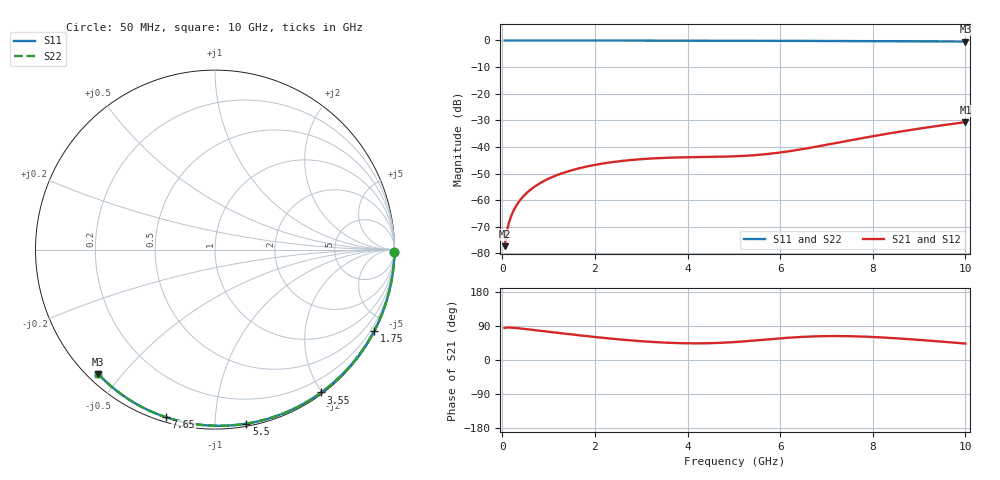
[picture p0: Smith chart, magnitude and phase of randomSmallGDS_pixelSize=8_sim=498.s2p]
! freq	dB(S11)	phase(S11)	dB(S12)	phase(S12)
!  dB(S21)	phase(S21)	dB(S22)	phase(S22)
!S-par simulation data
#  GHz  S  DB  R 50
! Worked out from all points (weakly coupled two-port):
!   200 points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, 50 MHz to 10 GHz, reference 50 ohm
!   highest |S21| = -30.70 dB at 10 GHz (marker M1); lowest = -77.3 dB at 50 MHz (marker M2)
!   lowest |S11| = -0.4 dB at 10 GHz (marker M3), VSWR 39.29, Z = 1.51 - j21.6 ohm
!   |S11| at or under -10 dB: nowhere
!   |S22| runs from -0.4 to 0.0 dB; largest |S21 - S12| = 0
!   S11 on the Smith chart (normalised r, x): 50 MHz: open; 1.75 GHz: 0.04, -4.17; 3.55 GHz: 0.02, -1.99; 5.5 GHz: 0.02, -1.20; 7.65 GHz: 0.02, -0.75; 10 GHz: 0.03, -0.43
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0.05  -0.00 -0.8  -77.30 84.6  -77.30 84.6  -0.00 -0.8
0.1  -0.00 -1.6  -71.56 85.6  -71.56 85.6  -0.00 -1.6
0.15  -0.00 -2.4  -68.10 85.7  -68.10 85.7  -0.00 -2.4
0.2  -0.00 -3.1  -65.63 85.4  -65.63 85.4  -0.00 -3.1
0.25  -0.00 -3.9  -63.71 84.9  -63.71 84.9  -0.00 -3.9
0.35  -0.00 -5.5  -60.81 83.8  -60.81 83.8  -0.00 -5.5
0.5  -0.01 -7.8  -57.76 81.7  -57.76 81.7  -0.01 -7.8
0.7  -0.01 -10.9  -54.90 78.9  -54.90 78.9  -0.01 -10.9
1  -0.02 -15.5  -51.95 74.5  -51.95 74.5  -0.02 -15.5
1.35  -0.03 -20.9  -49.57 69.5  -49.57 69.5  -0.03 -20.9
1.75  -0.03 -27.0  -47.66 63.9  -47.66 63.9  -0.03 -27.0
2.5  -0.05 -38.2  -45.44 54.6  -45.44 54.6  -0.05 -38.2
3.4  -0.07 -51.2  -44.20 46.6  -44.20 46.6  -0.07 -51.2
3.55  -0.07 -53.4  -44.09 45.7  -44.09 45.7  -0.07 -53.4
4.3  -0.09 -63.8  -43.80 44.0  -43.80 44.0  -0.09 -63.8
5.05  -0.11 -73.9  -43.51 47.6  -43.51 47.6  -0.11 -73.9
5.5  -0.13 -79.8  -43.04 51.9  -43.04 51.9  -0.13 -79.8
6.05  -0.15 -86.8  -41.99 57.6  -41.99 57.6  -0.15 -86.8
6.7  -0.18 -94.9  -40.16 62.2  -40.16 62.2  -0.18 -94.9
7.65  -0.24 -106.4  -37.09 62.3  -37.09 62.3  -0.24 -106.4
8.35  -0.29 -114.5  -34.94 58.5  -34.94 58.5  -0.29 -114.5
10  -0.44 -133.2  -30.70 43.4  -30.70 43.4  -0.44 -133.2
